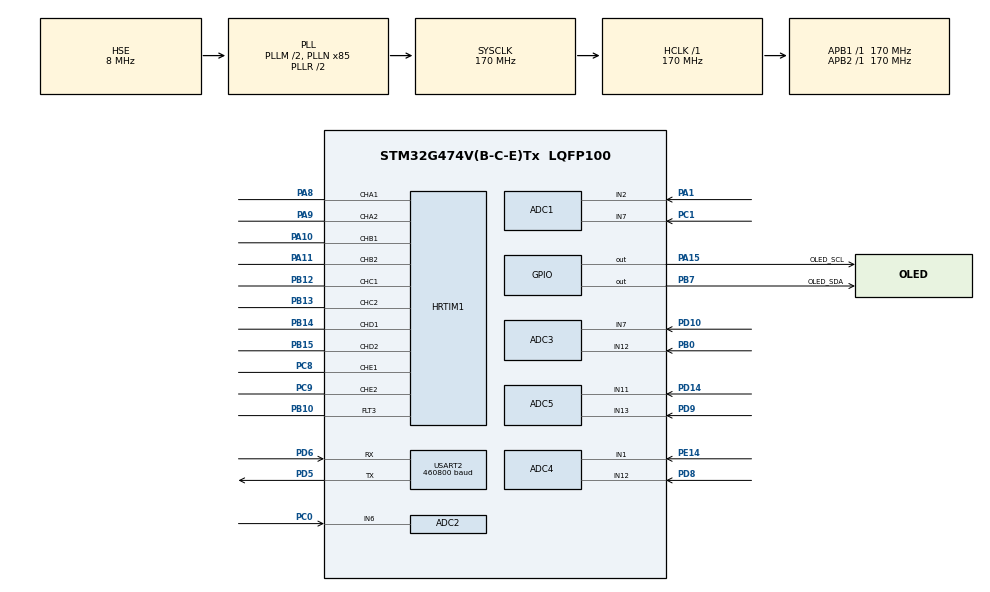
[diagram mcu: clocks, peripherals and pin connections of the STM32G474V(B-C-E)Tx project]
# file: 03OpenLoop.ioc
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ADC1.AWD1HighThreshold=4095
ADC1.AWD1ITMode=ENABLE
ADC1.AWD2HighThreshold=4095
ADC1.AWD2ITMode=ENABLE
ADC1.AWDChannel-1\#ChannelRegularConversion=ADC_CHANNEL_7
ADC1.Channel-0\#ChannelRegularConversion=ADC_CHANNEL_2
ADC1.Channel-1\#ChannelRegularConversion=ADC_CHANNEL_7
ADC1.ClockPrescaler=ADC_CLOCK_ASYNC_DIV4
ADC1.DMAContinuousRequests=ENABLE
ADC1.EOCSelection=ADC_EOC_SEQ_CONV
ADC1.EnableAnalogWatchDog1=true
ADC1.EnableAnalogWatchDog2=true
ADC1.ExternalTrigConv=ADC_EXTERNALTRIG_HRTIM_TRG1
ADC1.MonitoredBy-1\#ChannelRegularConversion=ADC_ANALOGWATCHDOG_2
ADC1.NbrOfConversion=2
ADC1.NbrOfConversionFlag=1
ADC1.OffsetNumber-0\#ChannelRegularConversion=ADC_OFFSET_NONE
ADC1.OffsetNumber-1\#ChannelRegularConversion=ADC_OFFSET_NONE
ADC1.Overrun=ADC_OVR_DATA_OVERWRITTEN
ADC1.Rank-0\#ChannelRegularConversion=1
ADC1.Rank-1\#ChannelRegularConversion=2
ADC1.RegFilteringConfig-1\#ChannelRegularConversion=ADC_AWD_FILTERING_NONE
ADC1.SamplingTime-0\#ChannelRegularConversion=ADC_SAMPLETIME_24CYCLES_5
ADC1.SamplingTime-1\#ChannelRegularConversion=ADC_SAMPLETIME_24CYCLES_5
ADC1.WDG2ChannelR2=ADC_CHANNEL_7
ADC1.WatchdogChannel=ADC_CHANNEL_2
ADC1.WatchdogMode2=ADC_ANALOGWATCHDOG_SINGLE_REGINJEC
ADC1.master=1
ADC2.AWD1HighThreshold=4095
ADC2.AWD1ITMode=ENABLE
ADC2.Channel-0\#ChannelRegularConversion=ADC_CHANNEL_6
ADC2.ClockPrescaler=ADC_CLOCK_ASYNC_DIV4
ADC2.DMAContinuousRequests=ENABLE
ADC2.EOCSelection=ADC_EOC_SEQ_CONV
ADC2.EnableAnalogWatchDog1=true
ADC2.ExternalTrigConv=ADC_EXTERNALTRIG_HRTIM_TRG1
ADC2.NbrOfConversion=1
ADC2.NbrOfConversionFlag=1
ADC2.OffsetNumber-0\#ChannelRegularConversion=ADC_OFFSET_NONE
ADC2.Overrun=ADC_OVR_DATA_OVERWRITTEN
ADC2.Rank-0\#ChannelRegularConversion=1
ADC2.SamplingTime-0\#ChannelRegularConversion=ADC_SAMPLETIME_24CYCLES_5
ADC2.WatchdogChannel=ADC_CHANNEL_6
ADC3.AWD1HighThreshold=4095
ADC3.AWD1ITMode=ENABLE
ADC3.AWD2HighThreshold=4095
ADC3.AWD2ITMode=ENABLE
ADC3.AWDChannel-2\#ChannelRegularConversion=ADC_CHANNEL_7
ADC3.Channel-0\#ChannelRegularConversion=ADC_CHANNEL_12
ADC3.Channel-2\#ChannelRegularConversion=ADC_CHANNEL_7
ADC3.ClockPrescaler=ADC_CLOCK_ASYNC_DIV4
ADC3.DMAContinuousRequests=ENABLE
ADC3.EOCSelection=ADC_EOC_SEQ_CONV
ADC3.EnableAnalogWatchDog1=true
ADC3.EnableAnalogWatchDog2=true
ADC3.ExternalTrigConv=ADC_EXTERNALTRIG_HRTIM_TRG2
ADC3.MonitoredBy-2\#ChannelRegularConversion=ADC_ANALOGWATCHDOG_2
ADC3.NbrOfConversion=2
ADC3.NbrOfConversionFlag=1
ADC3.OffsetNumber-2\#ChannelRegularConversion=ADC_OFFSET_NONE
ADC3.Overrun=ADC_OVR_DATA_OVERWRITTEN
ADC3.Rank-2\#ChannelRegularConversion=2
ADC3.RegFilteringConfig-2\#ChannelRegularConversion=ADC_AWD_FILTERING_NONE
ADC3.SamplingTime-0\#ChannelRegularConversion=ADC_SAMPLETIME_24CYCLES_5
ADC3.SamplingTime-2\#ChannelRegularConversion=ADC_SAMPLETIME_24CYCLES_5
ADC3.WDG2ChannelR2=ADC_CHANNEL_7
ADC3.WatchdogChannel=ADC_CHANNEL_12
ADC3.WatchdogMode2=ADC_ANALOGWATCHDOG_SINGLE_REGINJEC
ADC3.master=1
ADC4.AWD1HighThreshold=4095
ADC4.AWD1ITMode=ENABLE
ADC4.AWD2HighThreshold=4095
ADC4.AWD2ITMode=ENABLE
ADC4.AWDChannel-1\#ChannelRegularConversion=ADC_CHANNEL_1
ADC4.Channel-0\#ChannelRegularConversion=ADC_CHANNEL_12
ADC4.Channel-1\#ChannelRegularConversion=ADC_CHANNEL_1
ADC4.ClockPrescaler=ADC_CLOCK_ASYNC_DIV4
ADC4.DMAContinuousRequests=ENABLE
ADC4.EOCSelection=ADC_EOC_SEQ_CONV
ADC4.EnableAnalogWatchDog1=true
ADC4.EnableAnalogWatchDog2=true
ADC4.ExternalTrigConv=ADC_EXTERNALTRIG_HRTIM_TRG2
ADC4.MonitoredBy-1\#ChannelRegularConversion=ADC_ANALOGWATCHDOG_2
ADC4.NbrOfConversion=2
ADC4.NbrOfConversionFlag=1
ADC4.OffsetNumber-0\#ChannelRegularConversion=ADC_OFFSET_NONE
ADC4.OffsetNumber-1\#ChannelRegularConversion=ADC_OFFSET_NONE
ADC4.Overrun=ADC_OVR_DATA_OVERWRITTEN
ADC4.Rank-0\#ChannelRegularConversion=1
ADC4.Rank-1\#ChannelRegularConversion=2
ADC4.RegFilteringConfig-1\#ChannelRegularConversion=ADC_AWD_FILTERING_NONE
ADC4.SamplingTime-0\#ChannelRegularConversion=ADC_SAMPLETIME_24CYCLES_5
ADC4.SamplingTime-1\#ChannelRegularConversion=ADC_SAMPLETIME_24CYCLES_5
ADC4.WDG2ChannelR2=ADC_CHANNEL_1
ADC4.WatchdogChannel=ADC_CHANNEL_12
ADC4.WatchdogMode2=ADC_ANALOGWATCHDOG_SINGLE_REGINJEC
ADC5.AWD1HighThreshold=4095
ADC5.AWD1ITMode=ENABLE
ADC5.AWD2HighThreshold=4095
ADC5.AWD2ITMode=ENABLE
ADC5.AWDChannel-1\#ChannelRegularConversion=ADC_CHANNEL_11
ADC5.Channel-0\#ChannelRegularConversion=ADC_CHANNEL_13
ADC5.Channel-1\#ChannelRegularConversion=ADC_CHANNEL_11
ADC5.ClockPrescaler=ADC_CLOCK_ASYNC_DIV4
ADC5.DMAContinuousRequests=ENABLE
ADC5.EOCSelection=ADC_EOC_SEQ_CONV
ADC5.EnableAnalogWatchDog1=true
ADC5.EnableAnalogWatchDog2=true
ADC5.ExternalTrigConv=ADC_EXTERNALTRIG_HRTIM_TRG2
ADC5.MonitoredBy-1\#ChannelRegularConversion=ADC_ANALOGWATCHDOG_2
ADC5.NbrOfConversion=2
ADC5.NbrOfConversionFlag=1
ADC5.OffsetNumber-0\#ChannelRegularConversion=ADC_OFFSET_NONE
ADC5.OffsetNumber-1\#ChannelRegularConversion=ADC_OFFSET_NONE
ADC5.Overrun=ADC_OVR_DATA_OVERWRITTEN
ADC5.Rank-0\#ChannelRegularConversion=1
ADC5.Rank-1\#ChannelRegularConversion=2
ADC5.RegFilteringConfig-1\#ChannelRegularConversion=ADC_AWD_FILTERING_NONE
ADC5.SamplingTime-0\#ChannelRegularConversion=ADC_SAMPLETIME_24CYCLES_5
ADC5.SamplingTime-1\#ChannelRegularConversion=ADC_SAMPLETIME_24CYCLES_5
ADC5.WDG2ChannelR2=ADC_CHANNEL_11
ADC5.WatchdogChannel=ADC_CHANNEL_13
ADC5.WatchdogMode2=ADC_ANALOGWATCHDOG_SINGLE_REGINJEC
Dma.ADC1.0.Direction=DMA_PERIPH_TO_MEMORY
Dma.ADC1.0.EventEnable=DISABLE
Dma.ADC1.0.Instance=DMA1_Channel1
Dma.ADC1.0.MemDataAlignment=DMA_MDATAALIGN_HALFWORD
Dma.ADC1.0.MemInc=DMA_MINC_ENABLE
Dma.ADC1.0.Mode=DMA_CIRCULAR
Dma.ADC1.0.PeriphDataAlignment=DMA_PDATAALIGN_HALFWORD
Dma.ADC1.0.PeriphInc=DMA_PINC_DISABLE
Dma.ADC1.0.Polarity=HAL_DMAMUX_REQ_GEN_RISING
Dma.ADC1.0.Priority=DMA_PRIORITY_HIGH
Dma.ADC1.0.RequestNumber=1
Dma.ADC1.0.SignalID=NONE
Dma.ADC1.0.SyncEnable=DISABLE
Dma.ADC1.0.SyncPolarity=HAL_DMAMUX_SYNC_NO_EVENT
Dma.ADC1.0.SyncRequestNumber=1
Dma.ADC1.0.SyncSignalID=NONE
Dma.ADC2.1.Direction=DMA_PERIPH_TO_MEMORY
Dma.ADC2.1.EventEnable=DISABLE
Dma.ADC2.1.Instance=DMA1_Channel2
Dma.ADC2.1.MemDataAlignment=DMA_MDATAALIGN_HALFWORD
Dma.ADC2.1.MemInc=DMA_MINC_ENABLE
Dma.ADC2.1.Mode=DMA_CIRCULAR
Dma.ADC2.1.PeriphDataAlignment=DMA_PDATAALIGN_HALFWORD
Dma.ADC2.1.PeriphInc=DMA_PINC_DISABLE
Dma.ADC2.1.Polarity=HAL_DMAMUX_REQ_GEN_RISING
Dma.ADC2.1.Priority=DMA_PRIORITY_HIGH
Dma.ADC2.1.RequestNumber=1
Dma.ADC2.1.SignalID=NONE
Dma.ADC2.1.SyncEnable=DISABLE
Dma.ADC2.1.SyncPolarity=HAL_DMAMUX_SYNC_NO_EVENT
Dma.ADC2.1.SyncRequestNumber=1
Dma.ADC2.1.SyncSignalID=NONE
Dma.ADC3.4.Direction=DMA_PERIPH_TO_MEMORY
Dma.ADC3.4.EventEnable=DISABLE
Dma.ADC3.4.Instance=DMA2_Channel1
Dma.ADC3.4.MemDataAlignment=DMA_MDATAALIGN_HALFWORD
Dma.ADC3.4.MemInc=DMA_MINC_ENABLE
Dma.ADC3.4.Mode=DMA_CIRCULAR
Dma.ADC3.4.PeriphDataAlignment=DMA_PDATAALIGN_HALFWORD
Dma.ADC3.4.PeriphInc=DMA_PINC_DISABLE
Dma.ADC3.4.Polarity=HAL_DMAMUX_REQ_GEN_RISING
Dma.ADC3.4.Priority=DMA_PRIORITY_HIGH
Dma.ADC3.4.RequestNumber=1
Dma.ADC3.4.SignalID=NONE
Dma.ADC3.4.SyncEnable=DISABLE
Dma.ADC3.4.SyncPolarity=HAL_DMAMUX_SYNC_NO_EVENT
Dma.ADC3.4.SyncRequestNumber=1
Dma.ADC3.4.SyncSignalID=NONE
Dma.ADC4.2.Direction=DMA_PERIPH_TO_MEMORY
Dma.ADC4.2.EventEnable=DISABLE
Dma.ADC4.2.Instance=DMA2_Channel2
Dma.ADC4.2.MemDataAlignment=DMA_MDATAALIGN_HALFWORD
Dma.ADC4.2.MemInc=DMA_MINC_ENABLE
Dma.ADC4.2.Mode=DMA_CIRCULAR
Dma.ADC4.2.PeriphDataAlignment=DMA_PDATAALIGN_HALFWORD
Dma.ADC4.2.PeriphInc=DMA_PINC_DISABLE
Dma.ADC4.2.Polarity=HAL_DMAMUX_REQ_GEN_RISING
Dma.ADC4.2.Priority=DMA_PRIORITY_HIGH
Dma.ADC4.2.RequestNumber=1
Dma.ADC4.2.SignalID=NONE
Dma.ADC4.2.SyncEnable=DISABLE
Dma.ADC4.2.SyncPolarity=HAL_DMAMUX_SYNC_NO_EVENT
Dma.ADC4.2.SyncRequestNumber=1
Dma.ADC4.2.SyncSignalID=NONE
Dma.ADC5.3.Direction=DMA_PERIPH_TO_MEMORY
Dma.ADC5.3.EventEnable=DISABLE
Dma.ADC5.3.Instance=DMA2_Channel3
Dma.ADC5.3.MemDataAlignment=DMA_MDATAALIGN_HALFWORD
Dma.ADC5.3.MemInc=DMA_MINC_ENABLE
Dma.ADC5.3.Mode=DMA_CIRCULAR
Dma.ADC5.3.PeriphDataAlignment=DMA_PDATAALIGN_HALFWORD
Dma.ADC5.3.PeriphInc=DMA_PINC_DISABLE
Dma.ADC5.3.Polarity=HAL_DMAMUX_REQ_GEN_RISING
Dma.ADC5.3.Priority=DMA_PRIORITY_HIGH
Dma.ADC5.3.RequestNumber=1
Dma.ADC5.3.SignalID=NONE
Dma.ADC5.3.SyncEnable=DISABLE
Dma.ADC5.3.SyncPolarity=HAL_DMAMUX_SYNC_NO_EVENT
Dma.ADC5.3.SyncRequestNumber=1
Dma.ADC5.3.SyncSignalID=NONE
Dma.Request0=ADC1
Dma.Request1=ADC2
Dma.Request2=ADC4
Dma.Request3=ADC5
Dma.Request4=ADC3
HRTIM1.ADCTrigger1_Source1=HRTIM_ADCTRIGGEREVENT13_MASTER_CMP2
HRTIM1.ADCTrigger2_Source1=HRTIM_ADCTRIGGEREVENT24_MASTER_CMP2
HRTIM1.ADCTrigger_Id1=HRTIM_ADCTRIGGER_1
HRTIM1.ADCTrigger_Id2=HRTIM_ADCTRIGGER_2
HRTIM1.BlankingSourceFaultLine3=__NULL
HRTIM1.Bmrom_TA=HRTIM_TIM_BMROM_BOTH
HRTIM1.Bmrom_TB=HRTIM_TIM_BMROM_BOTH
HRTIM1.Bmrom_TC=HRTIM_TIM_BMROM_BOTH
HRTIM1.Bmrom_TD=HRTIM_TIM_BMROM_BOTH
HRTIM1.Bmrom_TE=HRTIM_TIM_BMROM_BOTH
HRTIM1.CompareUnit1-MasterTimer=__NULL
HRTIM1.CompareUnit1-Output_TA1TA2=HRTIM_COMPAREUNIT_1
HRTIM1.CompareUnit1-Output_TB1TB2=HRTIM_COMPAREUNIT_1
HRTIM1.CompareUnit1-Output_TC1TC2=HRTIM_COMPAREUNIT_1
HRTIM1.CompareUnit1-Output_TD1TD2=HRTIM_COMPAREUNIT_1
HRTIM1.CompareUnit1-Output_TE1TE2=HRTIM_COMPAREUNIT_1
HRTIM1.CompareUnit2-MasterTimer=HRTIM_COMPAREUNIT_2
HRTIM1.CompareValue1-Output_TA1TA2=17000
HRTIM1.CompareValue1-Output_TB1TB2=17000
HRTIM1.CompareValue1-Output_TC1TC2=17000
HRTIM1.CompareValue1-Output_TD1TD2=17000
HRTIM1.CompareValue1-Output_TE1TE2=17000
HRTIM1.CompareValue2-MasterTimer=17000
HRTIM1.DeadTimeInsertion-Output_TA1TA2=HRTIM_TIMDEADTIMEINSERTION_ENABLED
HRTIM1.DeadTimeInsertion-Output_TB1TB2=HRTIM_TIMDEADTIMEINSERTION_ENABLED
HRTIM1.DeadTimeInsertion-Output_TC1TC2=HRTIM_TIMDEADTIMEINSERTION_ENABLED
HRTIM1.DeadTimeInsertion-Output_TD1TD2=HRTIM_TIMDEADTIMEINSERTION_ENABLED
HRTIM1.DeadTimeInsertion-Output_TE1TE2=HRTIM_TIMDEADTIMEINSERTION_ENABLED
HRTIM1.FallingValue-Output_TA1TA2=85
HRTIM1.FallingValue-Output_TB1TB2=85
HRTIM1.FallingValue-Output_TC1TC2=85
HRTIM1.FallingValue-Output_TD1TD2=85
HRTIM1.FallingValue-Output_TE1TE2=85
HRTIM1.FaultEnable_Source1-Output_TA1TA2=HRTIM_TIMFAULTENABLE_FAULT3
HRTIM1.FaultEnable_Source1-Output_TB1TB2=HRTIM_TIMFAULTENABLE_FAULT3
HRTIM1.FaultEnable_Source1-Output_TC1TC2=HRTIM_TIMFAULTENABLE_FAULT3
HRTIM1.FaultEnable_Source1-Output_TD1TD2=HRTIM_TIMFAULTENABLE_FAULT3
HRTIM1.FaultEnable_Source1-Output_TE1TE2=HRTIM_TIMFAULTENABLE_FAULT3
HRTIM1.FaultLevel1-Output_TA1TA2=HRTIM_OUTPUTFAULTLEVEL_INACTIVE
HRTIM1.FaultLevel1-Output_TB1TB2=HRTIM_OUTPUTFAULTLEVEL_INACTIVE
HRTIM1.FaultLevel1-Output_TC1TC2=HRTIM_OUTPUTFAULTLEVEL_INACTIVE
HRTIM1.FaultLevel1-Output_TD1TD2=HRTIM_OUTPUTFAULTLEVEL_INACTIVE
HRTIM1.FaultLevel1-Output_TE1TE2=HRTIM_OUTPUTFAULTLEVEL_INACTIVE
HRTIM1.FaultLevel2-Output_TA1TA2=HRTIM_OUTPUTFAULTLEVEL_INACTIVE
HRTIM1.FaultLevel2-Output_TB1TB2=HRTIM_OUTPUTFAULTLEVEL_INACTIVE
HRTIM1.FaultLevel2-Output_TC1TC2=HRTIM_OUTPUTFAULTLEVEL_INACTIVE
HRTIM1.FaultLevel2-Output_TD1TD2=HRTIM_OUTPUTFAULTLEVEL_INACTIVE
HRTIM1.FaultLevel2-Output_TE1TE2=HRTIM_OUTPUTFAULTLEVEL_INACTIVE
HRTIM1.Fault_Line3=HRTIM_FAULT_3
HRTIM1.Ferom_TA=HRTIM_TIM_FEROM_BOTH
HRTIM1.Ferom_TB=HRTIM_TIM_FEROM_BOTH
HRTIM1.Ferom_TC=HRTIM_TIM_FEROM_BOTH
HRTIM1.Ferom_TD=HRTIM_TIM_FEROM_BOTH
HRTIM1.Ferom_TE=HRTIM_TIM_FEROM_BOTH
HRTIM1.HRTIMInterruptResquests1=HRTIM_IT_FLT3
HRTIM1.NumberADCTriggerSource1=1
HRTIM1.NumberADCTriggerSource2=1
HRTIM1.NumberFaultEnable-Output_TA1TA2=1
HRTIM1.NumberFaultEnable-Output_TB1TB2=1
HRTIM1.NumberFaultEnable-Output_TC1TC2=1
HRTIM1.NumberFaultEnable-Output_TD1TD2=1
HRTIM1.NumberFaultEnable-Output_TE1TE2=1
HRTIM1.NumberResetSource1-Output_TA1TA2=1
HRTIM1.NumberResetSource1-Output_TB1TB2=1
HRTIM1.NumberResetSource1-Output_TC1TC2=1
HRTIM1.NumberResetSource1-Output_TD1TD2=1
HRTIM1.NumberResetSource1-Output_TE1TE2=1
HRTIM1.NumberSetSource1-Output_TA1TA2=1
HRTIM1.NumberSetSource1-Output_TB1TB2=1
HRTIM1.NumberSetSource1-Output_TC1TC2=1
HRTIM1.NumberSetSource1-Output_TD1TD2=1
HRTIM1.NumberSetSource1-Output_TE1TE2=1
HRTIM1.NumberUpdateTrigger-Output_TA1TA2=0
HRTIM1.Outrom_TA=HRTIM_TIM_OUTROM_VALLEY
HRTIM1.Outrom_TB=HRTIM_TIM_OUTROM_VALLEY
HRTIM1.Outrom_TC=HRTIM_TIM_OUTROM_VALLEY
HRTIM1.Outrom_TD=HRTIM_TIM_OUTROM_VALLEY
HRTIM1.Outrom_TE=HRTIM_TIM_OUTROM_VALLEY
HRTIM1.Periode_MASTER=34000
HRTIM1.Periode_TA=34000
HRTIM1.Periode_TB=34000
HRTIM1.Periode_TC=34000
HRTIM1.Periode_TD=34000
HRTIM1.Periode_TE=34000
HRTIM1.Polarity_FaultLine3=HRTIM_FAULTPOLARITY_LOW
HRTIM1.PreloadEnable-Output_TA1TA2=HRTIM_PRELOAD_ENABLED
HRTIM1.PreloadEnable-Output_TB1TB2=HRTIM_PRELOAD_ENABLED
HRTIM1.PreloadEnable-Output_TC1TC2=HRTIM_PRELOAD_ENABLED
HRTIM1.PreloadEnable-Output_TD1TD2=HRTIM_PRELOAD_ENABLED
HRTIM1.PreloadEnable-Output_TE1TE2=HRTIM_PRELOAD_ENABLED
HRTIM1.PrescalerDead-Output_TA1TA2=HRTIM_TIMDEADTIME_PRESCALERRATIO_DIV1
HRTIM1.PrescalerDead-Output_TB1TB2=HRTIM_TIMDEADTIME_PRESCALERRATIO_DIV1
HRTIM1.PrescalerDead-Output_TC1TC2=HRTIM_TIMDEADTIME_PRESCALERRATIO_DIV1
HRTIM1.PrescalerDead-Output_TD1TD2=HRTIM_TIMDEADTIME_PRESCALERRATIO_DIV1
HRTIM1.PrescalerDead-Output_TE1TE2=HRTIM_TIMDEADTIME_PRESCALERRATIO_DIV1
HRTIM1.PrescalerRatio_MASTER=HRTIM_PRESCALERRATIO_MUL2
HRTIM1.PrescalerRatio_TA=HRTIM_PRESCALERRATIO_MUL4
HRTIM1.PrescalerRatio_TB=HRTIM_PRESCALERRATIO_MUL4
HRTIM1.PrescalerRatio_TC=HRTIM_PRESCALERRATIO_MUL4
HRTIM1.PrescalerRatio_TD=HRTIM_PRESCALERRATIO_MUL4
HRTIM1.PrescalerRatio_TE=HRTIM_PRESCALERRATIO_MUL4
HRTIM1.RepetitionCounter-MasterTimer=0
HRTIM1.RepetitionCounter-Output_TA1TA2=0
HRTIM1.RepetitionCounter-Output_TB1TB2=0
HRTIM1.RepetitionCounter-Output_TC1TC2=0
HRTIM1.RepetitionCounter-Output_TD1TD2=0
HRTIM1.RepetitionCounter-Output_TE1TE2=0
HRTIM1.RepetitionUpdate-Output_TA1TA2=HRTIM_UPDATEONREPETITION_ENABLED
HRTIM1.RepetitionUpdate-Output_TB1TB2=HRTIM_UPDATEONREPETITION_ENABLED
HRTIM1.RepetitionUpdate-Output_TC1TC2=HRTIM_UPDATEONREPETITION_ENABLED
HRTIM1.RepetitionUpdate-Output_TD1TD2=HRTIM_UPDATEONREPETITION_ENABLED
HRTIM1.RepetitionUpdate-Output_TE1TE2=HRTIM_UPDATEONREPETITION_ENABLED
HRTIM1.ResetOutput1_Source1-Output_TA1TA2=HRTIM_OUTPUTRESET_TIMCMP1
HRTIM1.ResetOutput1_Source1-Output_TB1TB2=HRTIM_OUTPUTRESET_TIMCMP1
HRTIM1.ResetOutput1_Source1-Output_TC1TC2=HRTIM_OUTPUTRESET_TIMCMP1
HRTIM1.ResetOutput1_Source1-Output_TD1TD2=HRTIM_OUTPUTRESET_TIMCMP1
HRTIM1.ResetOutput1_Source1-Output_TE1TE2=HRTIM_OUTPUTRESET_TIMCMP1
HRTIM1.RisingValue-Output_TA1TA2=85
HRTIM1.RisingValue-Output_TB1TB2=85
HRTIM1.RisingValue-Output_TC1TC2=85
HRTIM1.RisingValue-Output_TD1TD2=85
HRTIM1.RisingValue-Output_TE1TE2=85
HRTIM1.SetOutput1_Source1-Output_TA1TA2=HRTIM_OUTPUTSET_TIMCMP1
HRTIM1.SetOutput1_Source1-Output_TB1TB2=HRTIM_OUTPUTSET_TIMCMP1
HRTIM1.SetOutput1_Source1-Output_TC1TC2=HRTIM_OUTPUTSET_TIMCMP1
HRTIM1.SetOutput1_Source1-Output_TD1TD2=HRTIM_OUTPUTSET_TIMCMP1
HRTIM1.SetOutput1_Source1-Output_TE1TE2=HRTIM_OUTPUTSET_TIMCMP1
HRTIM1.UpDownMode-Output_TA1TA2=HRTIM_TIMERUPDOWNMODE_UPDOWN
HRTIM1.UpDownMode-Output_TB1TB2=HRTIM_TIMERUPDOWNMODE_UPDOWN
HRTIM1.UpDownMode-Output_TC1TC2=HRTIM_TIMERUPDOWNMODE_UPDOWN
HRTIM1.UpDownMode-Output_TD1TD2=HRTIM_TIMERUPDOWNMODE_UPDOWN
HRTIM1.UpDownMode-Output_TE1TE2=HRTIM_TIMERUPDOWNMODE_UPDOWN
HRTIM1.postscaler1=0
HRTIM1.postscaler2=0
HRTIM1.rom_TA=HRTIM_TIM_ROM_VALLEY
HRTIM1.rom_TB=HRTIM_TIM_ROM_VALLEY
HRTIM1.rom_TC=HRTIM_TIM_ROM_VALLEY
HRTIM1.rom_TD=HRTIM_TIM_ROM_VALLEY
HRTIM1.rom_TE=HRTIM_TIM_ROM_VALLEY
IWDG.Prescaler=IWDG_PRESCALER_64
IWDG.Reload=249
Mcu.Family=STM32G4
Mcu.Name=STM32G474V(B-C-E)Tx
Mcu.Package=LQFP100
NVIC.ADC1_2_IRQn=true\:1\:0\:true\:false\:true\:true\:true\:true
NVIC.ADC3_IRQn=true\:1\:0\:true\:false\:true\:true\:true\:true
NVIC.ADC4_IRQn=true\:1\:0\:true\:false\:true\:true\:true\:true
NVIC.ADC5_IRQn=true\:1\:0\:true\:false\:true\:true\:true\:true
NVIC.DMA1_Channel1_IRQn=true\:2\:0\:true\:false\:true\:false\:true\:true
NVIC.DMA1_Channel2_IRQn=true\:1\:0\:true\:false\:true\:false\:true\:true
NVIC.DMA2_Channel1_IRQn=true\:1\:0\:true\:false\:true\:false\:true\:true
NVIC.DMA2_Channel2_IRQn=true\:1\:0\:true\:false\:true\:false\:true\:true
NVIC.DMA2_Channel3_IRQn=true\:1\:0\:true\:false\:true\:false\:true\:true
NVIC.HRTIM1_FLT_IRQn=true\:0\:0\:false\:false\:true\:true\:true\:true
NVIC.PriorityGroup=NVIC_PRIORITYGROUP_4
PA1.Mode=IN2-Single-Ended
PA1.Signal=ADC1_IN2
PA10.Mode=Output_TB1TB2
PA10.Signal=HRTIM1_CHB1
PA11.Mode=Output_TB1TB2
PA11.Signal=HRTIM1_CHB2
PA13.Mode=Serial_Wire
PA13.Signal=SYS_JTMS-SWDIO
PA14.Mode=Serial_Wire
PA14.Signal=SYS_JTCK-SWCLK
PA15.GPIO_Label=OLED_SCL
PA15.GPIO_ModeDefaultOutputPP=GPIO_MODE_OUTPUT_PP
PA15.GPIO_PuPd=GPIO_NOPULL
PA15.GPIO_Speed=GPIO_SPEED_FREQ_HIGH
PA15.Signal=GPIO_Output
PA8.Mode=Output_TA1TA2
PA8.Signal=HRTIM1_CHA1
PA9.Mode=Output_TA1TA2
PA9.Signal=HRTIM1_CHA2
PB0.Mode=IN12-Single-Ended
PB0.Signal=ADC3_IN12
PB10.GPIO_PuPd=GPIO_PULLUP
PB10.Mode=Fault_Enable3
PB10.Signal=HRTIM1_FLT3
PB12.Mode=Output_TC1TC2
PB12.Signal=HRTIM1_CHC1
PB13.Mode=Output_TC1TC2
PB13.Signal=HRTIM1_CHC2
PB14.Mode=Output_TD1TD2
PB14.Signal=HRTIM1_CHD1
PB15.Mode=Output_TD1TD2
PB15.Signal=HRTIM1_CHD2
PB7.GPIO_Label=OLED_SDA
PB7.GPIO_ModeDefaultOutputPP=GPIO_MODE_OUTPUT_OD
PB7.GPIO_PuPd=GPIO_NOPULL
PB7.GPIO_Speed=GPIO_SPEED_FREQ_HIGH
PB7.Signal=GPIO_Output
PC0.Mode=IN6-Single-Ended
PC0.Signal=ADC2_IN6
PC1.Mode=IN7-Single-Ended
PC1.Signal=ADC1_IN7
PC8.Mode=Output_TE1TE2
PC8.Signal=HRTIM1_CHE1
PC9.Mode=Output_TE1TE2
PC9.Signal=HRTIM1_CHE2
PD10.Mode=IN7-Single-Ended
PD10.Signal=ADC3_IN7
PD14.Mode=IN11-Single-Ended
PD14.Signal=ADC5_IN11
PD5.Mode=Asynchronous
PD5.Signal=USART2_TX
PD6.Mode=Asynchronous
PD6.Signal=USART2_RX
PD8.Mode=IN12-Single-Ended
PD8.Signal=ADC4_IN12
PD9.Mode=IN13-Single-Ended
PD9.Signal=ADC5_IN13
PE14.Mode=IN1-Single-Ended
PE14.Signal=ADC4_IN1
PF0-OSC_IN.Mode=HSE-External-Oscillator
PF0-OSC_IN.Signal=RCC_OSC_IN
PF1-OSC_OUT.Mode=HSE-External-Oscillator
PF1-OSC_OUT.Signal=RCC_OSC_OUT
ProjectManager.HeapSize=0x200
ProjectManager.StackSize=0x400
ProjectManager.TargetToolchain=MDK-ARM V5.32
RCC.ADC12Freq_Value=170000000
RCC.ADC345Freq_Value=170000000
RCC.AHBFreq_Value=170000000
RCC.APB1Freq_Value=170000000
RCC.APB1TimFreq_Value=170000000
RCC.APB2Freq_Value=170000000
RCC.APB2TimFreq_Value=170000000
RCC.CortexFreq_Value=170000000
RCC.EXTERNAL_CLOCK_VALUE=12288000
RCC.EnbaleCSS=true
RCC.HCLKFreq_Value=170000000
RCC.HSE_VALUE=8000000
RCC.HSI48_VALUE=48000000
RCC.HSI_VALUE=16000000
RCC.LSE_VALUE=32768
RCC.PLLM=RCC_PLLM_DIV2
RCC.PLLN=85
RCC.PLLSourceVirtual=RCC_PLLSOURCE_HSE
RCC.SYSCLKFreq_VALUE=170000000
RCC.SYSCLKSource=RCC_SYSCLKSOURCE_PLLCLK
RCC.USBFreq_Value=170000000
RCC.VCOOutputFreq_Value=340000000
USART2.BaudRate=460800
USART2.VirtualMode-Asynchronous=VM_ASYNC
VP_HRTIM1_VS_hrtimMasterTimerNoOutput.Mode=MasterTimer
VP_IWDG_VS_IWDG.Mode=IWDG_Activate
VP_SYS_VS_DBSignals.Mode=DisableDeadBatterySignals
board=custom

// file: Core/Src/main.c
/* USER CODE BEGIN Header */
/**
  ******************************************************************************
  * @file           : main.c
  * @brief          : Main program body
  ******************************************************************************
  * @attention
  *
  * Copyright (c) 2026 STMicroelectronics.
  * All rights reserved.
  *
  * This software is licensed under terms that can be found in the LICENSE file
  * in the root directory of this software component.
  * If no LICENSE file comes with this software, it is provided AS-IS.
  *
  ******************************************************************************
  */
/* USER CODE END Header */
#include "main.h"
#include "adc.h"
#include "dma.h"
#include "hrtim.h"
#include "usart.h"
#include "gpio.h"

/* USER CODE BEGIN Includes */
#include "OLED.h"
#include "CBSVPWM.h"
#include "inv_hrtim.h"
#include "inv_measure.h"
#include "inv_open_loop.h"
#include "iwdg.h"
#include "vofa.h"
/* USER CODE END Includes */

/* USER CODE BEGIN PTD */

/**
 * @brief 逆变开环验证状态。
 * @note 状态由初始化主流程和10 kHz控制回调更新，Keil Watch只读观察。
 */
typedef enum
{
  INV_STATE_SAFE = 0U,
  INV_STATE_ADC_CALIBRATION,
  INV_STATE_ADC_OFFSET,
  INV_STATE_READY,
  INV_STATE_SOFT_START,
  INV_STATE_RUNNING,
  INV_STATE_FAULT_LATCH
} INV_AppState;

/* USER CODE END PTD */

/* USER CODE BEGIN PD */

/*
 * 本文件进行5 V直流母线下的三相三线开环逆变测试。默认输出60 Hz三相基波，
 * 目标线电压为2.5 Vrms；实际桥臂引脚仍是10 kHz
 * 中心对齐PWM，只有经过负载/滤波后的基波分量接近正弦。
 *
 * 调制度计算：M = 2 * Vphase_peak / Vdc，Vphase_peak=Vline_rms*sqrt(2/3)。
 * 当前Vdc=5 V、Vline_rms=2.5 V，因此目标M约为0.816，低于0.90限幅。
 * 软件在1 s内把调制度从0平滑增加到目标值，避免PWM开放后突加电压。
 */
#define INV_OPEN_LOOP_DC_BUS_V          (5.0f)
#define INV_OPEN_LOOP_LINE_RMS_V         (2.5f)
#define INV_OPEN_LOOP_DEFAULT_FREQUENCY  (INV_FREQ_60HZ)
#define INV_OPEN_LOOP_CONTROL_HZ         (10000U)
#define INV_OPEN_LOOP_SOFT_START_MS      (1000U)
#define INV_OPEN_LOOP_MODULATION_LIMIT   (0.90f)
#define INV_OPEN_LOOP_MINIMUM_DC_V       (1.0f)

/* 1表示自检后开放C/D/E六路PWM；改为0可仅运行ADC和算法并观察比较值。 */
#define INV_ENABLE_PWM_OUTPUT            (1U)

/*
 * 临时SVPWM功率板验证模式：
 * 1 = 不连接ADC采样板，跳过零偏、贴轨、AWD及三ADC同步保护；ADC3 DMA
 *     仅作为10 kHz控制节拍，不读取其浮空采样值。
 * 0 = 恢复完整ADC3/4/5同步采样和保护，接入采样板后必须改回0。
 *
 * 该开关不会关闭PB10/HRTIM1_FLT3、CSS、HardFault和控制心跳监督。
 * 当前只能用于5 V限流电源下的开环验证，禁止用于提高母线电压后的测试。
 */
#define INV_SVPWM_ONLY_NO_ADC_MODE       (1U)

#define INV_TEST_OFFSET_TIMEOUT_MS       (200U)
#define INV_TEST_SUPERVISOR_PERIOD_MS    (100U)
#define INV_TEST_VOFA_PERIOD_MS          (10U)
#define INV_TEST_OLED_PERIOD_MS          (100U)
#define INV_TEST_LIMITED_MAX_FRAMES      (100U)

/* USER CODE END PD */

/* USER CODE BEGIN PV */

/*
 * VOFA发送数组与VOFA+通道顺序一一对应，固定为8通道：
 * U相单位正弦、六路逆变ADC原始值和故障位。
 */
static float vofa_data[VOFA_MAX_CHANNELS] = {0.0f};

/* 供Keil Watch观察串口HAL调用结果；通信失败不触发功率故障。 */
static uint32_t vofa_tx_ok_count = 0U;
static uint32_t vofa_tx_error_count = 0U;

/*
 * 当前低压测试的唯一运行参数入口。后续改为赛题32 Vrms时，应同时传入实测
 * VBUS并重新校核调制度；不能只修改line_rms_target_v一个字段。
 */
static const INV_OpenLoopConfig inv_open_loop_config =
{
  INV_OPEN_LOOP_DC_BUS_V,
  INV_OPEN_LOOP_LINE_RMS_V,
  INV_OPEN_LOOP_DEFAULT_FREQUENCY,
  INV_OPEN_LOOP_MODULATION_LIMIT,
  INV_OPEN_LOOP_SOFT_START_MS,
  INV_OPEN_LOOP_CONTROL_HZ
};

/* 以下非static调试量可直接加入Keil Watch；ISR写入，调试器只读观察。 */
/* CBSVPWM运行对象保留归一化、零序注入、限幅和最终占空比中间量。 */
CBSVPWM_t inv_svpwm;

/*
 * U相参考、当前频率、控制心跳和最坏周期数由10 kHz DMA控制路径更新。
 * volatile只阻止编译器省略访问，不提供跨ISR结构体一致性；后台任务仍读取模块快照。
 */
volatile float inv_sine_u = 0.0f;
volatile uint16_t inv_output_frequency_hz = 60U;
volatile uint32_t inv_control_heartbeat = 0U;
uint32_t inv_control_max_cycles = 0U;
static uint32_t inv_limited_frames = 0U;

/* 应用状态可直接加入Keil Watch；只有SOFT_START/RUNNING允许更新PWM比较值。 */
volatile INV_AppState inv_state = INV_STATE_SAFE;

/* USER CODE END PV */

void SystemClock_Config(void);
/* USER CODE BEGIN PFP */

static void INV_AppTrip(uint32_t fault_bits);
static void INV_AppRunFastControl(const INV_Measurement *measurement);
#if (INV_SVPWM_ONLY_NO_ADC_MODE == 0U)
static HAL_StatusTypeDef INV_TestWaitForOffset(void);
#endif
static HAL_StatusTypeDef INV_OpenLoopStartOutputs(void);
static void INV_TestDwtInit(void);

/* USER CODE END PFP */

/* USER CODE BEGIN 0 */

/**
 * @brief 统一锁存故障并立即撤销六路PWM输出。
 * @param fault_bits INV_FaultMask位组合，0输入不会清除已有故障。
 * @note 允许从ISR调用；只执行寄存器/HAL非阻塞关断和软件状态复位，
 *       不发送USART、不刷新OLED，也不允许自动重新开放PWM。
 */
static void INV_AppTrip(uint32_t fault_bits)
{
  INV_HRTIM_DisableOutputs();
  INV_Measure_LatchFault(fault_bits);
  INV_OpenLoop_Reset();
  CBSVPWM_Reset(&inv_svpwm);
  inv_state = INV_STATE_FAULT_LATCH;
}

/**
 * @brief 等待ADC3/4/5完成零点标定并形成有效的六通道快照。
 * @retval HAL_OK表示三路DMA同步运行且标定完成；超时或故障返回HAL_ERROR。
 *
 * 此时Master和Timer C/D/E只产生HRTIM Trigger 2，六路PWM输出保持关闭。
 * 等待上限200 ms，正常情况下256帧在约25.6 ms内即可完成。
 */
#if (INV_SVPWM_ONLY_NO_ADC_MODE == 0U)
static HAL_StatusTypeDef INV_TestWaitForOffset(void)
{
  /* start_tick是本次等待的毫秒基准；measurement是测量模块发布的一致性快照。 */
  uint32_t start_tick = HAL_GetTick();
  INV_Measurement measurement;

  while ((HAL_GetTick() - start_tick) < INV_TEST_OFFSET_TIMEOUT_MS)
  {
    INV_Measure_GetSnapshot(&measurement);

    if (measurement.fault_bits != INV_FAULT_NONE)
    {
      return HAL_ERROR;
    }

    if ((measurement.offset_ready != 0U) && (measurement.valid != 0U))
    {
      return HAL_OK;
    }
  }

  INV_AppTrip(INV_FAULT_ADC_SYNC);
  return HAL_TIMEOUT;
}
#endif

/**
 * @brief 检查PB10/FLT3，并按编译开关决定是否开放C/D/E六路PWM。
 * @retval HAL_OK 启动条件满足；HAL_ERROR表示Fault有效或HRTIM启动失败。
 * @note 当前板没有PE Gate Enable或PE6 nFAULT输入。PB10若未连接真实故障源，
 *       只能用于人工拉低验证，不能等同于驱动器DESAT/OCP保护。
 */
static HAL_StatusTypeDef INV_OpenLoopStartOutputs(void)
{
  if ((HAL_GPIO_ReadPin(GPIOB, GPIO_PIN_10) == GPIO_PIN_RESET) ||
      (__HAL_HRTIM_GET_FLAG(&hhrtim1, HRTIM_FLAG_FLT3) != RESET))
  {
    return HAL_ERROR;
  }

  /* 三相先写入50%中性占空比，再统一开放输出，避免启动瞬间出现旧比较值。 */
  if (INV_HRTIM_SetDuty(0.5f, 0.5f, 0.5f) != HAL_OK)
  {
    return HAL_ERROR;
  }

#if (INV_ENABLE_PWM_OUTPUT != 0U)
  return INV_HRTIM_EnableOutputs();
#else
  /* 示波器安全模式仍运行ADC、DDS和比较值更新，但物理PWM引脚保持关闭。 */
  return HAL_OK;
#endif
}

/** @brief 开启DWT周期计数器，用于测量10 kHz控制路径最坏执行时间。 */
static void INV_TestDwtInit(void)
{
  CoreDebug->DEMCR |= CoreDebug_DEMCR_TRCENA_Msk;
  DWT->CYCCNT = 0U;
  DWT->CTRL |= DWT_CTRL_CYCCNTENA_Msk;
}

/**
 * @brief 在一个新六通道同步帧到达后执行一次DDS、CBSVPWM和HRTIM更新。
 * @param measurement 本次ADC同步帧，只用于有效性检查，不直接读取DMA数组。
 * @note  本函数运行于DMA中断上下文，禁止阻塞HAL、OLED、USART和HAL_Delay()。
 */
static void INV_AppRunFastControl(const INV_Measurement *measurement)
{
  INV_OpenLoopOutput reference;
  uint32_t start_cycles;
  uint32_t elapsed_cycles;

#if (INV_SVPWM_ONLY_NO_ADC_MODE == 0U)
  /* 完整模式要求本周期六通道快照已经完成零偏且没有ADC故障。 */
  if ((measurement == NULL) ||
      (measurement->valid == 0U) ||
      (measurement->fault_bits != INV_FAULT_NONE))
  {
    return;
  }
#else
  /*
   * 无采样板模式不读取measurement。ADC3 DMA只提供10 kHz回调节拍，
   * 因此传入NULL是预期行为，不代表软件错误。
   */
  (void)measurement;
#endif

  if ((inv_state != INV_STATE_SOFT_START) &&
      (inv_state != INV_STATE_RUNNING))
  {
    return;
  }

  start_cycles = DWT->CYCCNT;
  if (!INV_OpenLoop_Step(&reference))
  {
    INV_AppTrip(INV_FAULT_PARAMETER);
    return;
  }

  inv_sine_u = reference.sine_u;
  inv_output_frequency_hz = reference.frequency_hz;

  if (CBSVPWM_Calc3Leg(&inv_svpwm,
                       reference.vu_command,
                       reference.vv_command,
                       reference.vw_command,
                       reference.dc_bus_v) == 0U)
  {
    INV_AppTrip(INV_FAULT_CBSVPWM);
    return;
  }

  if (inv_svpwm.limited != 0U) {
    inv_limited_frames++;
    if (inv_limited_frames >= INV_TEST_LIMITED_MAX_FRAMES) {
      INV_AppTrip(INV_FAULT_CBSVPWM);
      return;
    }
  } else {
    inv_limited_frames = 0U;
  }

  /* Fault 0级中断可能抢占本控制ISR；恢复后必须复查，禁止继续写比较值。 */
  if ((inv_state == INV_STATE_FAULT_LATCH) ||
      (INV_Measure_GetFault() != INV_FAULT_NONE))
  {
    return;
  }

  if (INV_HRTIM_SetDuty(inv_svpwm.duty_u,
                        inv_svpwm.duty_v,
                        inv_svpwm.duty_w) != HAL_OK)
  {
    INV_AppTrip(INV_FAULT_PWM_COMMAND);
    return;
  }

  inv_control_heartbeat++;
  if (reference.ramp >= 1.0f)
  {
    inv_state = INV_STATE_RUNNING;
  }
  elapsed_cycles = DWT->CYCCNT - start_cycles;
  if (elapsed_cycles > inv_control_max_cycles) {
    inv_control_max_cycles = elapsed_cycles;
  }
}

/* USER CODE END 0 */

int main(void)
{

  /* MCU Configuration--------------------------------------------------------*/

  /* Reset of all peripherals, Initializes the Flash interface and the Systick. */
  HAL_Init();

  /* Configure the system clock */
  SystemClock_Config();

  /* Initialize all configured peripherals */
  MX_GPIO_Init();
  MX_DMA_Init();
  MX_HRTIM1_Init();
  MX_ADC1_Init();
  MX_ADC2_Init();
  MX_USART2_UART_Init();
  MX_ADC3_Init();
  MX_ADC4_Init();
  MX_ADC5_Init();
  /* USER CODE BEGIN 2 */

  /* 任何模块初始化前先撤销C/D/E输出；当前IOC中PE0～PE6均不参与控制。 */
  INV_HRTIM_DisableOutputs();
  inv_state = INV_STATE_SAFE;

  /*
   * 上电后只在初始化阶段等待一次，使OLED内部电源和电荷泵稳定。
   * 禁止把HAL_Delay()放入主循环或ADC DMA回调，否则会破坏后台调度
   * 或10 kHz开环控制节拍。等待期间HRTIM六路PWM保持关闭。
   */
  HAL_Delay(100U);
  OLED_Init();

  /*
   * 固定标签只写一次，主循环后续只更新数字区域，避免整屏清除造成闪烁：
   * IU/IV/IW为三相电流ADC原始码，UV/VW/WU为三相线电压ADC原始码；
   * 第4行显示当前30/60 Hz频率和INV_FaultMask锁存故障位。
   */
  OLED_ShowString(1U, 1U, "IU:");
  OLED_ShowString(1U, 9U, "UV:");
  OLED_ShowString(2U, 1U, "IV:");
  OLED_ShowString(2U, 9U, "VW:");
  OLED_ShowString(3U, 1U, "IW:");
  OLED_ShowString(3U, 9U, "WU:");
  OLED_ShowString(4U, 1U, "F:");
  OLED_ShowString(4U, 5U, "Hz");
  OLED_ShowString(4U, 9U, "E:");

  /* 清空测量、DMA同步序列、零点累加器、DDS软启动状态和历史故障。 */
  INV_Measure_Init();
  inv_limited_frames = 0U;
  INV_TestDwtInit();

  /*
   * 5 V母线和2.5 Vrms线电压由开环模块换算成约0.816调制度。
   * 默认60 Hz；后续需要题目第5项时可调用SetFrequency(INV_FREQ_30HZ)，
   * DDS只改变相位步进，不清零当前相位，因此切换时不会产生相位跳变。
   */
  if (!INV_OpenLoop_Init(&inv_open_loop_config))
  {
    INV_AppTrip(INV_FAULT_PARAMETER);
    Error_Handler();
  }

  /* CBSVPWM使用5 V开环母线参数；本阶段仍未配置独立VBUS ADC反馈。 */
  if (CBSVPWM_Init(&inv_svpwm,
                   inv_open_loop_config.modulation_limit,
                   INV_OPEN_LOOP_MINIMUM_DC_V) == 0U)
  {
    INV_AppTrip(INV_FAULT_CBSVPWM);
    Error_Handler();
  }

  /* ADC校准必须在规则组DMA和HRTIM Trigger 2启动之前完成。 */
  inv_state = INV_STATE_ADC_CALIBRATION;
  if (HAL_ADCEx_Calibration_Start(&hadc5, ADC_SINGLE_ENDED) != HAL_OK)
  {
    INV_AppTrip(INV_FAULT_ADC_ERROR);
    Error_Handler();
  }

  if (HAL_ADCEx_Calibration_Start(&hadc4, ADC_SINGLE_ENDED) != HAL_OK)
  {
    INV_AppTrip(INV_FAULT_ADC_ERROR);
    Error_Handler();
  }

  if (HAL_ADCEx_Calibration_Start(&hadc3, ADC_SINGLE_ENDED) != HAL_OK)
  {
    INV_AppTrip(INV_FAULT_ADC_ERROR);
    Error_Handler();
  }

  /*
   * 三个ADC均包含两个规则Rank，DMA长度必须固定为2。先启动ADC5、ADC4，
   * 最后启动ADC3，使三路ADC在Master尚未运行时全部进入等待Trigger 2状态。
   */
  if (HAL_ADC_Start_DMA(&hadc5, (uint32_t *)INV_Adc5Dma, 2U) != HAL_OK)
  {
    INV_AppTrip(INV_FAULT_ADC_ERROR);
    Error_Handler();
  }

  if (HAL_ADC_Start_DMA(&hadc4, (uint32_t *)INV_Adc4Dma, 2U) != HAL_OK)
  {
    INV_AppTrip(INV_FAULT_ADC_ERROR);
    Error_Handler();
  }

  if (HAL_ADC_Start_DMA(&hadc3, (uint32_t *)INV_Adc3Dma, 2U) != HAL_OK)
  {
    INV_AppTrip(INV_FAULT_ADC_ERROR);
    Error_Handler();
  }

  /*
   * 循环DMA默认同时产生Half Transfer和Transfer Complete中断。本测试只在
   * 两个Rank全部搬运完成后处理样本，因此关闭HT，防止读取半更新缓冲区。
   */
  __HAL_DMA_DISABLE_IT(hadc5.DMA_Handle, DMA_IT_HT);
  __HAL_DMA_DISABLE_IT(hadc4.DMA_Handle, DMA_IT_HT);
  __HAL_DMA_DISABLE_IT(hadc3.DMA_Handle, DMA_IT_HT);

  /*
   * 启动Master与Timer C/D/E计数器，Master CMP2通过HRTIM Trigger 2
   * 以10 kHz触发ADC3/4/5；该函数不会开放六路PWM。
   */
  inv_state = INV_STATE_ADC_OFFSET;
  if (INV_HRTIM_StartTimeBase() != HAL_OK)
  {
    INV_AppTrip(INV_FAULT_HRTIM);
    Error_Handler();
  }

  /*
   * 完整模式必须等待ADC零点和同步链路通过。临时无采样板模式跳过该步骤，
   * 否则浮空输入会触发贴轨故障，导致HRTIM输出无法开放。
   */
#if (INV_SVPWM_ONLY_NO_ADC_MODE == 0U)
  if (INV_TestWaitForOffset() != HAL_OK)
  {
    Error_Handler();
  }
#endif

  /* PB10/FLT3正常后进入READY；无采样板模式不把ADC结果作为启动条件。 */
  inv_state = INV_STATE_READY;
  if ((HAL_GPIO_ReadPin(GPIOB, GPIO_PIN_10) == GPIO_PIN_RESET) ||
      (__HAL_HRTIM_GET_FLAG(&hhrtim1, HRTIM_FLAG_FLT3) != RESET))
  {
    INV_AppTrip(INV_FAULT_HRTIM);
    Error_Handler();
  }

  /*
   * IWDG在所有阻塞式初始化完成后、PWM开放前启动。此后任一启动失败均不再
   * 刷新看门狗，约500 ms后复位，且复位期间HRTIM输出保持默认关闭。
   */
  MX_IWDG_Init();

  if (INV_OpenLoopStartOutputs() != HAL_OK)
  {
    INV_AppTrip(INV_FAULT_HRTIM);
    Error_Handler();
  }

  /* 下一完整ADC同步帧开始推进DDS和1 s软启动，不在主循环伪造控制节拍。 */
  inv_state = INV_STATE_SOFT_START;

  /* USER CODE END 2 */

  /* Infinite loop */
  /* USER CODE BEGIN WHILE */

  /* VOFA以10 ms为发送周期，即每秒发送约100帧。 */
  uint32_t vofa_tick = HAL_GetTick();

  /* OLED属于100 ms低速后台任务，不参与ADC、HRTIM或故障中断。 */
  uint32_t oled_tick = HAL_GetTick();

  /* 保存上次监督快照，用于判断三路DMA和10 kHz控制是否持续推进。 */
  /*
   * 三个tick分别是VOFA、OLED和安全监督任务的毫秒时间基准；各任务独立计时，
   * 某个低速任务偶尔延迟不会改变另外两个任务的周期判断。
   */
  uint32_t supervisor_tick = HAL_GetTick();

  /*
   * 以下值保存上一次100 ms监督时看到的序列号/心跳。当前值必须与它们不同，
   * 才能证明三路DMA、六通道拼帧以及CBSVPWM控制入口均在持续运行。
   */
#if (INV_SVPWM_ONLY_NO_ADC_MODE == 0U)
  uint32_t last_adc3_sequence = 0U;
  uint32_t last_adc4_sequence = 0U;
  uint32_t last_adc5_sequence = 0U;
  uint32_t last_fast_heartbeat = 0U;
#endif
  uint32_t last_control_heartbeat = 0U;
  while (1)
  {
    /* USER CODE END WHILE */

    /* USER CODE BEGIN 3 */

    /*
     * 每10 ms发送一次VOFA数据。阻塞式USART只允许位于主循环，禁止放入
     * 10 kHz DMA回调，否则约0.78 ms的串口发送会破坏实时控制节拍。
     */
    if ((HAL_GetTick() - vofa_tick) >= INV_TEST_VOFA_PERIOD_MS)
    {
      /* 局部副本在短暂关中断期间一次性取得，后续串口发送不再访问ISR共享对象。 */
      INV_Measurement measurement;
      INV_OpenLoopOutput reference;

      vofa_tick = HAL_GetTick();
      INV_Measure_GetSnapshot(&measurement);
      INV_OpenLoop_GetSnapshot(&reference);

      /* CH0显示当前30/60 Hz单位正弦，用来同时验证DDS节拍和USART数据顺序。 */
      vofa_data[0] = reference.sine_u;

      /* CH1~CH6依次显示三个电流和三路线电压ADC原始码，便于核对Rank。 */
      vofa_data[1] = (float)measurement.iu_raw;
      vofa_data[2] = (float)measurement.iv_raw;
      vofa_data[3] = (float)measurement.iw_raw;
      vofa_data[4] = (float)measurement.vuv_raw;
      vofa_data[5] = (float)measurement.vvw_raw;
      vofa_data[6] = (float)measurement.vwu_raw;
      vofa_data[7] = (float)measurement.fault_bits;

      if (VOFA_Send(&huart2, vofa_data, VOFA_MAX_CHANNELS) == HAL_OK)
      {
        vofa_tx_ok_count++;
      }
      else
      {
        /* 串口仅用于观测，发送失败计数但不直接触发功率故障。 */
        vofa_tx_error_count++;
      }
    }

    /*
     * 每100 ms进行一次安全监督。任一DMA、同步快照或控制入口停止推进，
     * 均立即关闭逆变输出并停止喂狗；故障锁存后禁止自动重新启动PWM。
     */
    if ((HAL_GetTick() - supervisor_tick) >= INV_TEST_SUPERVISOR_PERIOD_MS)
    {
      supervisor_tick = HAL_GetTick();

#if (INV_SVPWM_ONLY_NO_ADC_MODE == 0U)
      /* 本轮监督使用同一份完整快照比较所有ADC序列、有效标志和故障位。 */
      INV_Measurement measurement;

      INV_Measure_GetSnapshot(&measurement);

      if ((measurement.adc3_sequence == last_adc3_sequence) ||
          (measurement.adc4_sequence == last_adc4_sequence) ||
          (measurement.adc5_sequence == last_adc5_sequence))
      {
        INV_AppTrip(INV_FAULT_ADC_SYNC);
      }
      else if ((measurement.fast_heartbeat == last_fast_heartbeat) ||
               (inv_control_heartbeat == last_control_heartbeat))
      {
        INV_AppTrip(INV_FAULT_CONTROL_TIMEOUT);
      }
      else if (measurement.fault_bits != INV_FAULT_NONE)
      {
        INV_AppTrip(measurement.fault_bits);
      }
      else if ((measurement.valid == 0U) ||
               (HAL_GPIO_ReadPin(GPIOB, GPIO_PIN_10) == GPIO_PIN_RESET) ||
               (__HAL_HRTIM_GET_FLAG(&hhrtim1, HRTIM_FLAG_FLT3) != RESET) ||
               ((inv_state != INV_STATE_SOFT_START) &&
                (inv_state != INV_STATE_RUNNING)))
      {
        INV_AppTrip(INV_FAULT_HRTIM);
      }
      else
      {
        /* 仅在完整安全条件成立时刷新IWDG，禁止在中断中无条件喂狗。 */
        if (HAL_IWDG_Refresh(&hiwdg) != HAL_OK)
        {
          INV_AppTrip(INV_FAULT_SYSTEM);
        }
      }
#else
      /*
       * 无采样板模式只监督SVPWM控制心跳、FLT3和应用状态。ADC3 DMA若停止，
       * inv_control_heartbeat也会停止，因此仍可在100 ms内关闭PWM并停止喂狗。
       */
      if (inv_control_heartbeat == last_control_heartbeat)
      {
        INV_AppTrip(INV_FAULT_CONTROL_TIMEOUT);
      }
      else if ((HAL_GPIO_ReadPin(GPIOB, GPIO_PIN_10) == GPIO_PIN_RESET) ||
               (__HAL_HRTIM_GET_FLAG(&hhrtim1, HRTIM_FLAG_FLT3) != RESET) ||
               ((inv_state != INV_STATE_SOFT_START) &&
                (inv_state != INV_STATE_RUNNING)))
      {
        INV_AppTrip(INV_FAULT_HRTIM);
      }
      else if (HAL_IWDG_Refresh(&hiwdg) != HAL_OK)
      {
        INV_AppTrip(INV_FAULT_SYSTEM);
      }
#endif

#if (INV_SVPWM_ONLY_NO_ADC_MODE == 0U)
      last_adc3_sequence = measurement.adc3_sequence;
      last_adc4_sequence = measurement.adc4_sequence;
      last_adc5_sequence = measurement.adc5_sequence;
      last_fast_heartbeat = measurement.fast_heartbeat;
#endif
      last_control_heartbeat = inv_control_heartbeat;
    }

    /*
     * 每100 ms更新一次OLED。安全监督放在本段之前执行，确保软件I2C传输
     * 不会推迟DMA失步、FLT3或控制心跳异常的检测与安全关断。
     */
    if ((HAL_GetTick() - oled_tick) >= INV_TEST_OLED_PERIOD_MS)
    {
      /* OLED只显示此处取得的完整快照，不直接读取DMA正在更新的原始数组。 */
      INV_Measurement measurement;
      INV_OpenLoopOutput reference;

      /* 主循环偶尔延迟时不连续补刷旧帧，而是以当前时刻作为下一周期基准。 */
      oled_tick = HAL_GetTick();

      /*
       * 读取测量模块已经发布的完整六通道快照，禁止直接访问正被DMA改写的
       * INV_Adc3Dma/INV_Adc4Dma/INV_Adc5Dma数组，避免显示半更新数据。
       */
      INV_Measure_GetSnapshot(&measurement);
      INV_OpenLoop_GetSnapshot(&reference);

      /*
       * 六路ADC为12位原始码，固定显示4位十进制数；即使前导位为0，
       * 数字区域宽度也保持不变，不需要周期性OLED_Clear()。
       */
      OLED_ShowNum(1U, 4U, measurement.iu_raw, 4U);
      OLED_ShowNum(1U, 12U, measurement.vuv_raw, 4U);
      OLED_ShowNum(2U, 4U, measurement.iv_raw, 4U);
      OLED_ShowNum(2U, 12U, measurement.vvw_raw, 4U);
      OLED_ShowNum(3U, 4U, measurement.iw_raw, 4U);
      OLED_ShowNum(3U, 12U, measurement.vwu_raw, 4U);

      /*
       * 输出频率固定显示两位十进制数；故障位用三位十六进制显示，
       * 可覆盖新增的CSS时钟故障位，正常状态为000且故障后不自动清零。
       */
      OLED_ShowNum(4U, 3U, reference.frequency_hz, 2U);
      OLED_ShowHexNum(4U, 11U, measurement.fault_bits, 3U);
    }

  }
  /* USER CODE END 3 */
}

void SystemClock_Config(void)
{
  RCC_OscInitTypeDef RCC_OscInitStruct = {0};
  RCC_ClkInitTypeDef RCC_ClkInitStruct = {0};

  /** Configure the main internal regulator output voltage
  */
  HAL_PWREx_ControlVoltageScaling(PWR_REGULATOR_VOLTAGE_SCALE1_BOOST);

  /** Initializes the RCC Oscillators according to the specified parameters
  * in the RCC_OscInitTypeDef structure.
  */
  RCC_OscInitStruct.OscillatorType = RCC_OSCILLATORTYPE_LSI|RCC_OSCILLATORTYPE_HSE;
  RCC_OscInitStruct.HSEState = RCC_HSE_ON;
  RCC_OscInitStruct.LSIState = RCC_LSI_ON;
  RCC_OscInitStruct.PLL.PLLState = RCC_PLL_ON;
  RCC_OscInitStruct.PLL.PLLSource = RCC_PLLSOURCE_HSE;
  RCC_OscInitStruct.PLL.PLLM = RCC_PLLM_DIV2;
  RCC_OscInitStruct.PLL.PLLN = 85;
  RCC_OscInitStruct.PLL.PLLP = RCC_PLLP_DIV2;
  RCC_OscInitStruct.PLL.PLLQ = RCC_PLLQ_DIV2;
  RCC_OscInitStruct.PLL.PLLR = RCC_PLLR_DIV2;
  if (HAL_RCC_OscConfig(&RCC_OscInitStruct) != HAL_OK)
  {
    Error_Handler();
  }

  /** Initializes the CPU, AHB and APB buses clocks
  */
  RCC_ClkInitStruct.ClockType = RCC_CLOCKTYPE_HCLK|RCC_CLOCKTYPE_SYSCLK
                              |RCC_CLOCKTYPE_PCLK1|RCC_CLOCKTYPE_PCLK2;
  RCC_ClkInitStruct.SYSCLKSource = RCC_SYSCLKSOURCE_PLLCLK;
  RCC_ClkInitStruct.AHBCLKDivider = RCC_SYSCLK_DIV1;
  RCC_ClkInitStruct.APB1CLKDivider = RCC_HCLK_DIV1;
  RCC_ClkInitStruct.APB2CLKDivider = RCC_HCLK_DIV1;

  if (HAL_RCC_ClockConfig(&RCC_ClkInitStruct, FLASH_LATENCY_4) != HAL_OK)
  {
    Error_Handler();
  }

  /** Enables the Clock Security System
  */
  HAL_RCC_EnableCSS();
}

/* USER CODE BEGIN 4 */

/**
 * @brief ADC规则组DMA完整传输回调。
 * @param hadc 发生完整转换事件的ADC句柄。
 *
 * ADC3/4/5均由HRTIM Master CMP2通过HRTIM_TRG2以10 kHz触发。每个ADC
 * 分支先发布自己的DMA序列；只有三个序列全部更新后，测量模块才返回true
 * 和一份完整快照，因此一个PWM周期只会运行一次开环控制。
 *
 * 该函数运行在DMA中断上下文，禁止调用阻塞式USART或HAL_Delay()。
 */
void HAL_ADC_ConvCpltCallback(ADC_HandleTypeDef *hadc)
{
#if (INV_SVPWM_ONLY_NO_ADC_MODE == 0U)
  INV_Measurement measurement;
  bool frame_ready = false;

  if ((hadc != NULL) && (hadc->Instance == ADC3))
  {
    frame_ready = INV_Measure_OnAdc3Complete(&measurement);
  }
  else if ((hadc != NULL) && (hadc->Instance == ADC4))
  {
    frame_ready = INV_Measure_OnAdc4Complete(&measurement);
  }
  else if ((hadc != NULL) && (hadc->Instance == ADC5))
  {
    frame_ready = INV_Measure_OnAdc5Complete(&measurement);
  }

  /*
   * 测量模块内部发现失步或贴轨时只负责锁存记录；应用层必须在同一ISR
   * 立即撤销HRTIM输出，不能等待100 ms后台监督才执行关断。
   */
  if (INV_Measure_GetFault() != INV_FAULT_NONE)
  {
    INV_AppTrip(INV_Measure_GetFault());
    return;
  }

  if (frame_ready &&
      (measurement.offset_ready != 0U) &&
      (measurement.valid != 0U))
  {
    INV_AppRunFastControl(&measurement);
  }
#else
  /*
   * 临时模式只使用ADC3双Rank DMA完成事件作为10 kHz控制节拍。
   * ADC4/5回调直接忽略，浮空ADC原始码不会进入测量、零偏或保护判断。
   */
  if ((hadc != NULL) && (hadc->Instance == ADC3))
  {
    INV_AppRunFastControl(NULL);
  }
#endif
}

/**
 * @brief ADC及其DMA错误回调，仅处理本测试启用的ADC3/4/5。
 * @param hadc 报告错误的ADC句柄；NULL或ADC1/2不会进入逆变故障处理。
 */
void HAL_ADC_ErrorCallback(ADC_HandleTypeDef *hadc)
{
#if (INV_SVPWM_ONLY_NO_ADC_MODE == 0U)
  /*
   * ADC3/4/5发生Overrun、DMA或内部状态错误时统一锁存逆变ADC故障。
   * ADC1/2在本测试中没有启动，若以后启用应由各自应用模块单独处理。
   */
  if ((hadc != NULL) &&
      ((hadc->Instance == ADC3) ||
       (hadc->Instance == ADC4) ||
       (hadc->Instance == ADC5)))
  {
    INV_AppTrip(INV_FAULT_ADC_ERROR);
  }
#else
  /* 临时模式不让ADC采样错误关断SVPWM；恢复采样板后必须重新启用本保护。 */
  (void)hadc;
#endif
}

/**
 * @brief ADC模拟看门狗越界回调，仅处理当前逆变使用的ADC3/4/5。
 * @param hadc 触发AWD1或AWD2的ADC句柄。
 * @note 当前IOC阈值仍为0～4095，正常不会触发。完成模拟前端标定并收紧阈值后，
 *       本回调会立即关闭PWM并锁存故障；禁止在此处执行串口或OLED操作。
 */
void HAL_ADC_LevelOutOfWindowCallback(ADC_HandleTypeDef *hadc)
{
#if (INV_SVPWM_ONLY_NO_ADC_MODE == 0U)
  if ((hadc != NULL) &&
      ((hadc->Instance == ADC3) ||
       (hadc->Instance == ADC4) ||
       (hadc->Instance == ADC5)))
  {
    INV_AppTrip(INV_FAULT_ADC_WATCHDOG);
  }
#else
  /* 浮空采样输入不具备物理意义，临时忽略AWD；仅限5 V无采样板验证。 */
  (void)hadc;
#endif
}

/**
 * @brief HRTIM Fault 3中断回调，在硬件关断完成后锁存软件故障记录。
 * @param hhrtim 触发Fault回调的HRTIM句柄；本工程仅配置HRTIM1。
 */
void HAL_HRTIM_Fault3Callback(HRTIM_HandleTypeDef *hhrtim)
{
  /*
   * Fault 3硬件逻辑已先把HRTIM输出置为Inactive；ISR随后记录故障状态，
   * 供主循环显示和状态机处理。清除中断标志不代表允许自动恢复PWM。
   */
  if ((hhrtim != NULL) && (hhrtim->Instance == HRTIM1))
  {
    INV_AppTrip(INV_FAULT_HRTIM);
  }
}

/* USER CODE END 4 */

void Error_Handler(void)
{
  /* USER CODE BEGIN Error_Handler_Debug */
  /*
   * 不可恢复HAL错误先关闭六路PWM并停止C/D/E计数器。若IWDG已经启动，
   * 停止刷新后由其复位；若尚未启动，则保持输出关闭并等待人工复位。
   */
  INV_HRTIM_DisableOutputs();
  INV_Measure_LatchFault(INV_FAULT_SYSTEM);
  INV_OpenLoop_Reset();
  CBSVPWM_Reset(&inv_svpwm);
  INV_HRTIM_StopInverterTimers();
  inv_state = INV_STATE_FAULT_LATCH;
  __disable_irq();
  while (1)
  {
  }
  /* USER CODE END Error_Handler_Debug */
}
